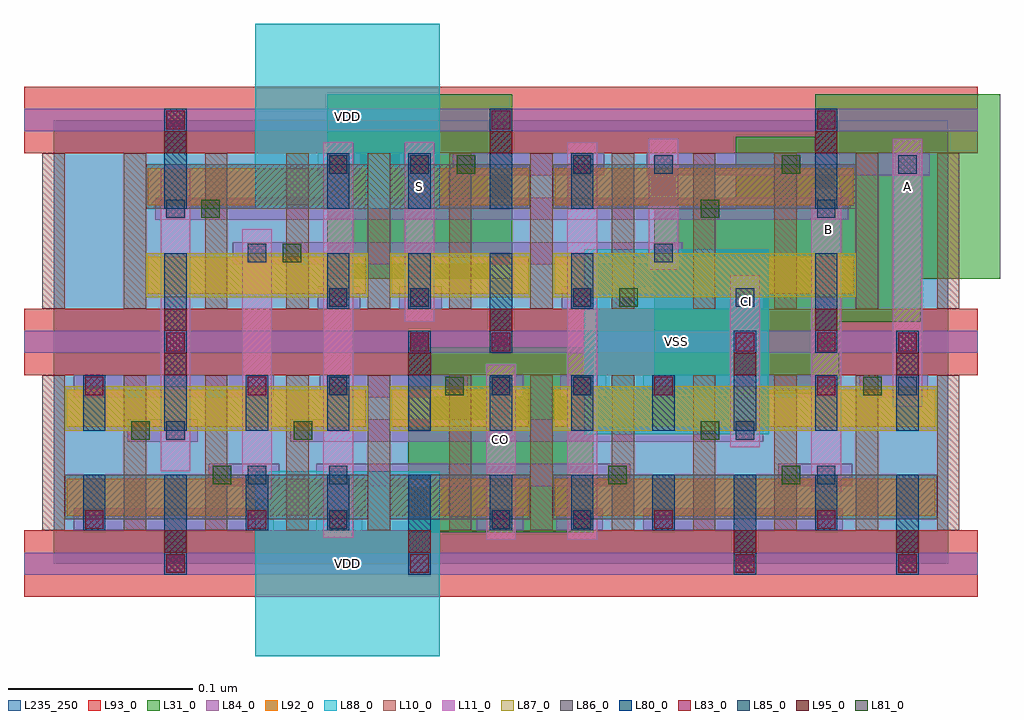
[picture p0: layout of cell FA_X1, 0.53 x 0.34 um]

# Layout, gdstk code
import gdstk
lib = gdstk.Library(unit=1e-6, precision=1e-09)
def R(c, l, rs):  # rectangles x0, y0, x1, y1
    for r in rs: c.add(gdstk.rectangle(r[:2], r[2:], *l))
def A(c, l, x, y, w, h, nx, ny, dx, dy):  # array of equal rectangles
    R(c, l, [(x+i*dx, y+j*dy, x+i*dx+w, y+j*dy+h) for i in range(nx) for j in range(ny)])
L10_0 = (10, 0)
L11_0 = (11, 0)
L31_0 = (31, 0)
L80_0 = (80, 0)
L81_0 = (81, 0)
L83_0 = (83, 0)
L84_0 = (84, 0)
L85_0 = (85, 0)
L86_0 = (86, 0)
L87_0 = (87, 0)
L88_0 = (88, 0)
L92_0 = (92, 0)
L93_0 = (93, 0)
L95_0 = (95, 0)
L235_250 = (235, 250)

fa_x1 = lib.new_cell('FA_X1')
A(fa_x1, L10_0, -0.006, 0.018, 0.012, 0.084, 12, 2, 0.044, 0.12)
R(fa_x1, L11_0, [(0.234,0.013,0.25,0.108), (0.278,0.013,0.294,0.228), (0.146,0.014,0.162,0.228), (0.102,0.035,0.118,0.181), (0.41,0.039,0.426,0.203), (0.058,0.05,0.074,0.214), (0.366,0.063,0.382,0.156), (0.454,0.085,0.47,0.23), (0.19,0.131,0.206,0.228), (0.322,0.159,0.338,0.23)])
R(fa_x1, L31_0, [(0.192,0.017,0.292,0.117), (0.325,0.092,0.425,0.192), (0.369,0.131,0.469,0.231), (0.148,0.154,0.248,0.254), (0.412,0.154,0.512,0.254)])
A(fa_x1, L80_0, 0.236, 0.018, 0.012, 0.03, 3, 2, 0.044, 0.054)
A(fa_x1, L80_0, 0.06, 0.192, 0.012, 0.054, 3, 1, 0.176, 0)
R(fa_x1, L80_0, [(0.06,-0.006,0.072,0.048), (0.192,-0.006,0.204,0.048), (0.368,-0.006,0.38,0.048), (0.456,-0.006,0.468,0.048), (0.016,0.018,0.028,0.048), (0.104,0.018,0.116,0.048), (0.148,0.018,0.16,0.048), (0.412,0.018,0.424,0.048), (0.016,0.072,0.028,0.102), (0.06,0.072,0.072,0.168), (0.104,0.072,0.116,0.102), (0.148,0.072,0.16,0.102), (0.192,0.072,0.204,0.126), (0.368,0.072,0.38,0.126), (0.412,0.072,0.424,0.102), (0.456,0.072,0.468,0.126), (0.236,0.114,0.248,0.168), (0.412,0.114,0.424,0.168), (0.148,0.138,0.16,0.168), (0.192,0.138,0.204,0.168), (0.28,0.138,0.292,0.168), (0.148,0.192,0.16,0.222), (0.192,0.192,0.204,0.222), (0.28,0.192,0.292,0.222)])
R(fa_x1, L81_0, [(0.086,0.043,0.096,0.053), (0.3,0.043,0.31,0.053), (0.394,0.043,0.404,0.053), (0.042,0.067,0.052,0.077), (0.13,0.067,0.14,0.077), (0.35,0.067,0.36,0.077), (0.212,0.091,0.222,0.101), (0.438,0.091,0.448,0.101), (0.306,0.139,0.316,0.149), (0.124,0.163,0.134,0.173), (0.08,0.187,0.09,0.197), (0.35,0.187,0.36,0.197), (0.218,0.211,0.228,0.221), (0.394,0.211,0.404,0.221)])
A(fa_x1, L83_0, 0.237, 0.019, 0.01, 0.01, 3, 2, 0.044, 0.072)
A(fa_x1, L83_0, 0.369, 0.115, 0.01, 0.01, 3, 1, 0.044, 0)
A(fa_x1, L83_0, 0.061, 0.235, 0.01, 0.01, 3, 1, 0.176, 0)
R(fa_x1, L83_0, [(0.061,-0.005,0.071,0.005), (0.193,-0.005,0.203,0.005), (0.369,-0.005,0.379,0.005), (0.457,-0.005,0.467,0.005), (0.017,0.019,0.027,0.029), (0.105,0.019,0.115,0.029), (0.149,0.019,0.159,0.029), (0.413,0.019,0.423,0.029), (0.017,0.091,0.027,0.101), (0.105,0.091,0.115,0.101), (0.149,0.091,0.159,0.101), (0.413,0.091,0.423,0.101), (0.061,0.115,0.071,0.125), (0.193,0.115,0.203,0.125), (0.237,0.115,0.247,0.125), (0.149,0.139,0.159,0.149), (0.193,0.139,0.203,0.149), (0.281,0.139,0.291,0.149), (0.149,0.211,0.159,0.221), (0.193,0.211,0.203,0.221), (0.281,0.211,0.291,0.221)])
A(fa_x1, L84_0, -0.016, -0.006, 0.516, 0.012, 1, 3, 0, 0.12)
R(fa_x1, L84_0, [(0.011,0.018,0.119,0.03), (0.142,0.018,0.167,0.03), (0.229,0.018,0.254,0.03), (0.272,0.018,0.297,0.03), (0.319,0.018,0.427,0.03), (0.084,0.042,0.122,0.054), (0.142,0.042,0.312,0.054), (0.392,0.042,0.432,0.054), (0.04,0.066,0.078,0.078), (0.128,0.066,0.384,0.078), (0.011,0.09,0.119,0.102), (0.144,0.09,0.224,0.102), (0.236,0.09,0.254,0.102), (0.274,0.09,0.299,0.102), (0.319,0.09,0.424,0.102), (0.436,0.09,0.473,0.102), (0.143,0.138,0.166,0.15), (0.187,0.138,0.21,0.15), (0.275,0.138,0.292,0.15), (0.304,0.138,0.384,0.15), (0.097,0.162,0.34,0.174), (0.055,0.186,0.43,0.198), (0.143,0.21,0.166,0.222), (0.187,0.21,0.204,0.222), (0.216,0.21,0.298,0.222), (0.321,0.21,0.474,0.222)])
A(fa_x1, L85_0, 0.149, 0.043, 0.01, 0.01, 1, 3, 0, 0.048)
A(fa_x1, L85_0, 0.193, 0.139, 0.01, 0.01, 3, 1, 0.088, 0)
R(fa_x1, L85_0, [(0.149,0.019,0.159,0.029), (0.237,0.019,0.247,0.029), (0.281,0.019,0.291,0.029), (0.105,0.043,0.115,0.053), (0.413,0.043,0.423,0.053), (0.061,0.067,0.071,0.077), (0.369,0.067,0.379,0.077), (0.237,0.091,0.247,0.101), (0.281,0.091,0.291,0.101), (0.457,0.091,0.467,0.101), (0.105,0.163,0.115,0.173), (0.325,0.163,0.335,0.173), (0.061,0.187,0.071,0.197), (0.413,0.187,0.423,0.197), (0.149,0.211,0.159,0.221), (0.193,0.211,0.203,0.221), (0.281,0.211,0.291,0.221), (0.325,0.211,0.335,0.221), (0.457,0.211,0.467,0.221)])
R(fa_x1, L86_0, [(0.006,0.024,0.17,0.048), (0.182,0.024,0.258,0.048), (0.27,0.024,0.478,0.048), (0.05,0.192,0.17,0.216), (0.182,0.192,0.258,0.216), (0.27,0.192,0.434,0.216)])
R(fa_x1, L87_0, [(0.006,0.072,0.17,0.096), (0.182,0.072,0.258,0.096), (0.27,0.072,0.478,0.096), (0.05,0.144,0.17,0.168), (0.182,0.144,0.258,0.168), (0.27,0.144,0.434,0.168)])
R(fa_x1, L88_0, [(0.109,-0.05,0.209,0.05), (0.287,0.07,0.387,0.17), (0.109,0.192,0.209,0.292)])
R(fa_x1, L92_0, [(0.007,0.026,0.169,0.046), (0.183,0.026,0.257,0.046), (0.271,0.026,0.477,0.046), (0.007,0.074,0.169,0.094), (0.183,0.074,0.257,0.094), (0.271,0.074,0.477,0.094), (0.051,0.146,0.169,0.166), (0.183,0.146,0.257,0.166), (0.271,0.146,0.433,0.166), (0.051,0.194,0.169,0.214), (0.183,0.194,0.257,0.214), (0.271,0.194,0.433,0.214)])
A(fa_x1, L93_0, -0.016, -0.018, 0.516, 0.036, 1, 3, 0, 0.12)
A(fa_x1, L95_0, 0.06, 0.126, 0.012, 0.012, 3, 2, 0.176, 0.096)
R(fa_x1, L95_0, [(0.06,0.006,0.072,0.018), (0.192,0.006,0.204,0.018), (0.368,0.006,0.38,0.018), (0.456,0.006,0.468,0.018), (0.06,0.102,0.072,0.114), (0.192,0.102,0.204,0.114), (0.368,0.102,0.38,0.114), (0.456,0.102,0.468,0.114)])
R(fa_x1, L235_250, [(0,0,0.484,0.24)])
fa_x1.add(gdstk.Label('VDD', (0.159,0), layer=88, texttype=0))
fa_x1.add(gdstk.Label('VDD', (0.159,0.242), layer=88, texttype=0))
fa_x1.add(gdstk.Label('VSS', (0.337,0.12), layer=88, texttype=0))
fa_x1.add(gdstk.Label('CI', (0.375,0.142), layer=31, texttype=0))
fa_x1.add(gdstk.Label('S', (0.198,0.204), layer=31, texttype=0))
fa_x1.add(gdstk.Label('B', (0.419,0.181), layer=31, texttype=0))
fa_x1.add(gdstk.Label('A', (0.462,0.204), layer=31, texttype=0))
fa_x1.add(gdstk.Label('CO', (0.242,0.067), layer=31, texttype=0))

lib.write_gds('FA_X1.gds')
